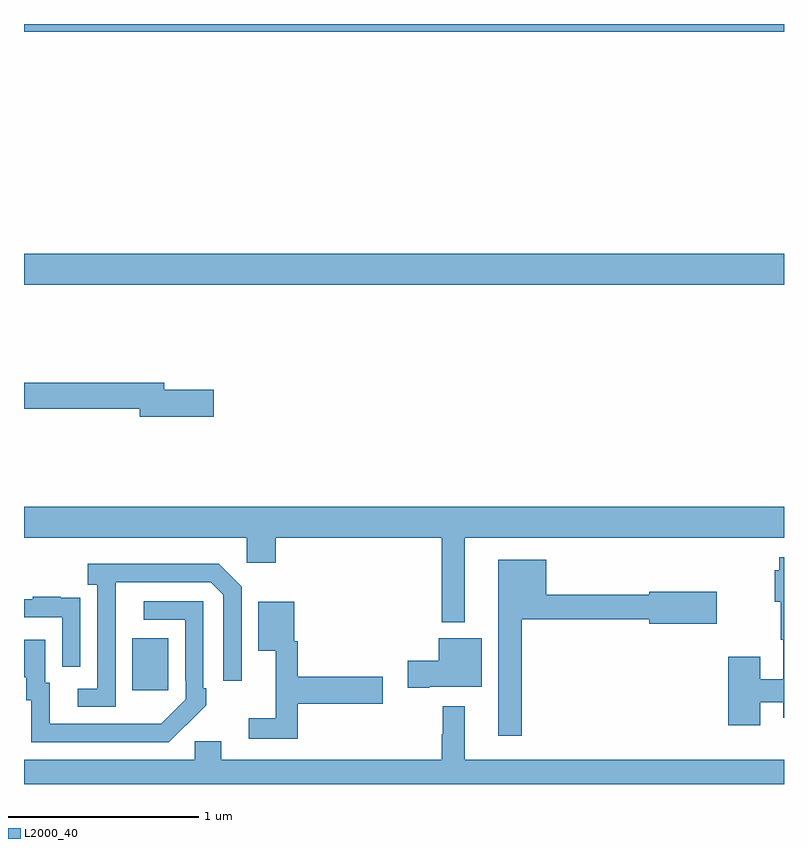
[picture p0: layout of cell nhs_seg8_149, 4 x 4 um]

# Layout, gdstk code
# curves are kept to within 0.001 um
import gdstk
lib = gdstk.Library(unit=1e-6, precision=1e-09)
def R(c, l, rs):  # rectangles x0, y0, x1, y1
    for r in rs: c.add(gdstk.rectangle(r[:2], r[2:], *l))
def P(c, l, *ps):  # polygons
    for p in ps: c.add(gdstk.Polygon(p, *l))
L2000_40 = (2000, 40)

nhs_seg8_149 = lib.new_cell('nhs_seg8_149')
R(nhs_seg8_149, L2000_40, [(121.571,1086.393,121.759,1086.667), (121,1088.528,125,1088.692), (121,1089.86,125,1089.9)])
P(nhs_seg8_149, L2000_40, [(121.999,1087.976),(121.738,1087.976),(121.738,1088.012),(121,1088.012),(121,1087.876),(121.61,1087.876),(121.61,1087.834),(121.999,1087.834)],
  [(123.319,1087.196),(125,1087.196),(125,1087.36),(121,1087.36),(121,1087.196),(122.172,1087.196),(122.172,1087.065),(122.324,1087.065),(122.324,1087.196),(123.198,1087.196),(123.198,1086.752),(123.319,1086.752)],
  [(124.876,1086.33),(124.995,1086.33),(124.995,1086.249),(125,1086.249),(125,1087.093),(124.975,1087.093),(124.975,1087.024),(124.951,1087.024),(124.951,1086.859),(124.983,1086.859),(124.983,1086.658),(124.995,1086.658),(124.995,1086.451),(124.876,1086.451),(124.876,1086.571),(124.706,1086.571),(124.706,1086.21),(124.876,1086.21)],
  [(123.619,1086.766),(124.292,1086.766),(124.292,1086.743),(124.645,1086.743),(124.645,1086.913),(124.292,1086.913),(124.292,1086.895),(123.748,1086.895),(123.748,1087.081),(123.497,1087.081),(123.497,1086.153),(123.619,1086.153)],
  [(121.482,1086.763),(121.483,1086.963),(121.983,1086.963),(122.049,1086.897),(122.049,1086.444),(122.145,1086.444),(122.145,1086.939),(122.024,1087.06),(121.335,1087.06),(121.335,1086.95),(121.386,1086.95),(121.386,1086.402),(121.284,1086.402),(121.284,1086.306),(121.482,1086.306)],
  [(121.296,1086.77),(121.295,1086.77),(121.295,1086.879),(121.193,1086.879),(121.193,1086.886),(121.045,1086.886),(121.045,1086.873),(121,1086.873),(121,1086.777),(121.2,1086.777),(121.2,1086.516),(121.296,1086.516)],
  [(121.853,1086.211),(121.854,1086.21),(121.959,1086.315),(121.959,1086.403),(121.944,1086.403),(121.944,1086.861),(121.629,1086.861),(121.629,1086.765),(121.848,1086.765),(121.848,1086.445),(121.851,1086.445),(121.851,1086.345),(121.723,1086.217),(121.135,1086.216),(121.135,1086.432),(121.111,1086.432),(121.111,1086.658),(121,1086.658),(121,1086.461),(121.013,1086.461),(121.013,1086.342),(121.038,1086.342),(121.038,1086.12),(121.762,1086.12)],
  [(122.441,1086.322),(122.887,1086.322),(122.887,1086.464),(122.441,1086.464),(122.441,1086.651),(122.422,1086.651),(122.422,1086.859),(122.234,1086.859),(122.234,1086.602),(122.324,1086.602),(122.324,1086.247),(122.184,1086.247),(122.184,1086.138),(122.441,1086.138)],
  [(123.133,1086.413),(123.409,1086.413),(123.409,1086.667),(123.182,1086.667),(123.182,1086.548),(123.021,1086.548),(123.021,1086.406),(123.133,1086.406)],
  [(125,1086.028),(123.319,1086.028),(123.319,1086.31),(123.205,1086.31),(123.205,1086.161),(123.198,1086.161),(123.198,1086.028),(122.038,1086.028),(122.038,1086.126),(121.899,1086.126),(121.899,1086.028),(121,1086.028),(121,1085.9),(125,1085.9)])

lib.write_gds('nhs_seg8_149.gds')
